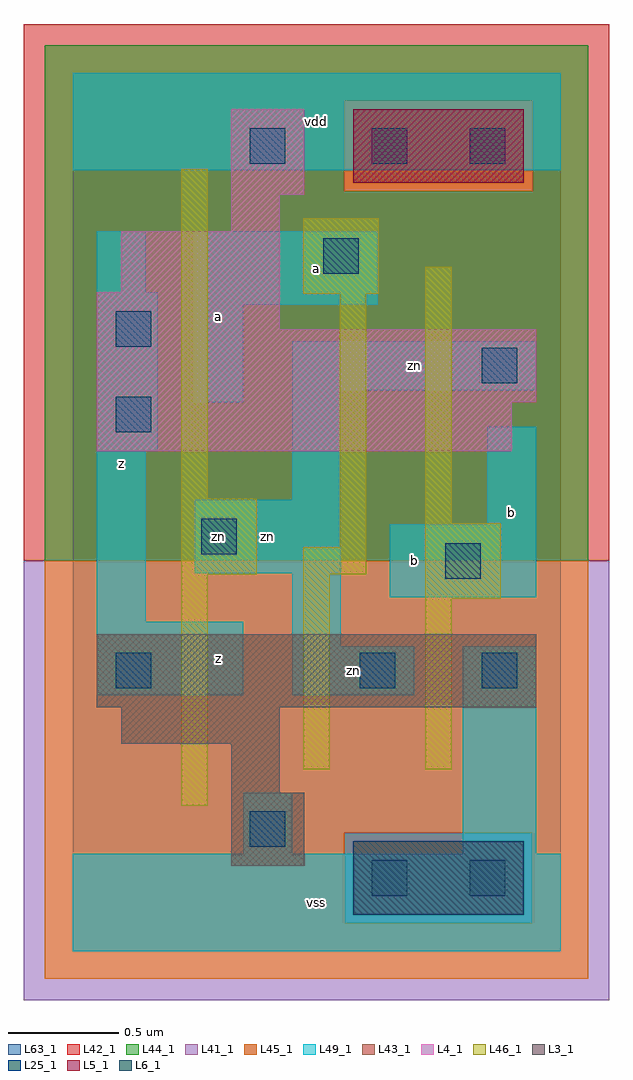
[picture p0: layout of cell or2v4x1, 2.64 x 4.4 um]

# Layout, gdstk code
import gdstk
lib = gdstk.Library(unit=1e-6, precision=1e-09)
def R(c, l, rs):  # rectangles x0, y0, x1, y1
    for r in rs: c.add(gdstk.rectangle(r[:2], r[2:], *l))
L3_1 = (3, 1)
L4_1 = (4, 1)
L5_1 = (5, 1)
L6_1 = (6, 1)
L25_1 = (25, 1)
L41_1 = (41, 1)
L42_1 = (42, 1)
L43_1 = (43, 1)
L44_1 = (44, 1)
L45_1 = (45, 1)
L46_1 = (46, 1)
L49_1 = (49, 1)
L63_1 = (63, 1)

or2v4x1 = lib.new_cell('or2v4x1')
R(or2v4x1, L3_1, [(0.715,0.385,1.045,0.715), (0.715,0.715,0.935,0.935), (0.22,0.935,0.935,1.1), (0.11,1.1,2.09,1.43)])
R(or2v4x1, L4_1, [(0.11,2.255,1.98,2.475), (0.11,2.475,2.09,2.805), (0.11,2.805,0.935,2.97), (0.22,2.97,0.935,3.245), (0.715,3.245,0.935,3.41), (0.715,3.41,1.045,3.795)])
R(or2v4x1, L5_1, [(1.265,3.465,2.035,3.795)])
R(or2v4x1, L6_1, [(1.265,0.165,2.035,0.495)])
R(or2v4x1, L25_1, [(1.35,0.25,1.51,0.41), (1.79,0.25,1.95,0.41), (0.8,0.47,0.96,0.63), (0.195,1.185,0.355,1.345), (1.295,1.185,1.455,1.345), (1.845,1.185,2.005,1.345), (1.68,1.68,1.84,1.84), (0.58,1.79,0.74,1.95), (0.195,2.34,0.355,2.5), (1.845,2.56,2.005,2.72), (0.195,2.725,0.355,2.885), (1.13,3.055,1.29,3.215), (0.8,3.55,0.96,3.71), (1.35,3.55,1.51,3.71), (1.79,3.55,1.95,3.71)])
R(or2v4x1, L41_1, [(-0.22,-0.22,2.42,1.76)])
R(or2v4x1, L42_1, [(-0.22,1.76,2.42,4.18)])
R(or2v4x1, L43_1, [(1.265,0.165,2.035,0.495), (0.715,0.385,1.045,0.715), (0.715,0.715,0.935,0.935), (0.22,0.935,0.935,1.1), (0.11,1.1,2.09,1.43), (0.11,2.255,1.98,2.475), (0.11,2.475,2.09,2.805), (0.11,2.805,0.935,2.97), (0.22,2.97,0.935,3.245), (0.715,3.245,0.935,3.41), (0.715,3.41,1.045,3.795), (1.265,3.465,2.035,3.795)])
R(or2v4x1, L44_1, [(1.225,0.125,2.075,0.535), (-0.125,1.76,2.325,3.425), (-0.125,3.425,1.225,3.835), (2.075,3.425,2.325,3.835), (-0.125,3.835,2.325,4.085)])
R(or2v4x1, L45_1, [(-0.125,-0.125,2.325,0.125), (-0.125,0.125,1.225,0.535), (2.075,0.125,2.325,0.535), (-0.125,0.535,2.325,1.76), (1.225,3.425,2.075,3.835)])
R(or2v4x1, L46_1, [(0.49,0.655,0.61,1.7), (1.04,0.82,1.16,1.7), (1.59,0.82,1.71,1.59), (1.59,1.59,1.93,1.93), (0.49,1.7,0.83,2.04), (1.04,1.7,1.325,1.82), (1.205,1.82,1.325,2.965), (1.59,1.93,1.71,3.085), (0.49,2.04,0.61,3.525), (1.04,2.965,1.38,3.305)])
R(or2v4x1, L49_1, [(0,0,2.2,0.44), (0.77,0.44,0.99,0.715), (1.76,0.44,2.09,1.375), (0.11,1.155,0.77,1.485), (0.99,1.155,1.54,1.375), (0.99,1.375,1.21,1.705), (0.11,1.485,0.33,2.255), (1.43,1.595,2.09,1.925), (0.55,1.705,1.21,2.035), (1.87,1.925,2.09,2.365), (0.99,2.035,1.21,2.53), (0.11,2.255,0.385,2.97), (0.55,2.475,0.77,2.915), (0.99,2.53,2.09,2.75), (0.55,2.915,1.375,3.245), (0.11,2.97,0.33,3.245), (0,3.52,2.2,3.96)])
R(or2v4x1, L63_1, [(0,0,2.2,3.96)])
or2v4x1.add(gdstk.Label('zn', (0.66,1.87), layer=49, texttype=1))
or2v4x1.add(gdstk.Label('z', (0.22,2.2), layer=49, texttype=1))
or2v4x1.add(gdstk.Label('z', (0.66,1.32), layer=49, texttype=1))
or2v4x1.add(gdstk.Label('a', (0.66,2.86), layer=49, texttype=1))
or2v4x1.add(gdstk.Label('vss', (1.1,0.22), layer=49, texttype=1))
or2v4x1.add(gdstk.Label('zn', (1.265,1.265), layer=49, texttype=1))
or2v4x1.add(gdstk.Label('b', (1.54,1.76), layer=49, texttype=1))
or2v4x1.add(gdstk.Label('zn', (0.88,1.87), layer=49, texttype=1))
or2v4x1.add(gdstk.Label('a', (1.1,3.08), layer=49, texttype=1))
or2v4x1.add(gdstk.Label('vdd', (1.1,3.74), layer=49, texttype=1))
or2v4x1.add(gdstk.Label('b', (1.98,1.98), layer=49, texttype=1))
or2v4x1.add(gdstk.Label('zn', (1.54,2.64), layer=49, texttype=1))

lib.write_gds('or2v4x1.gds')
